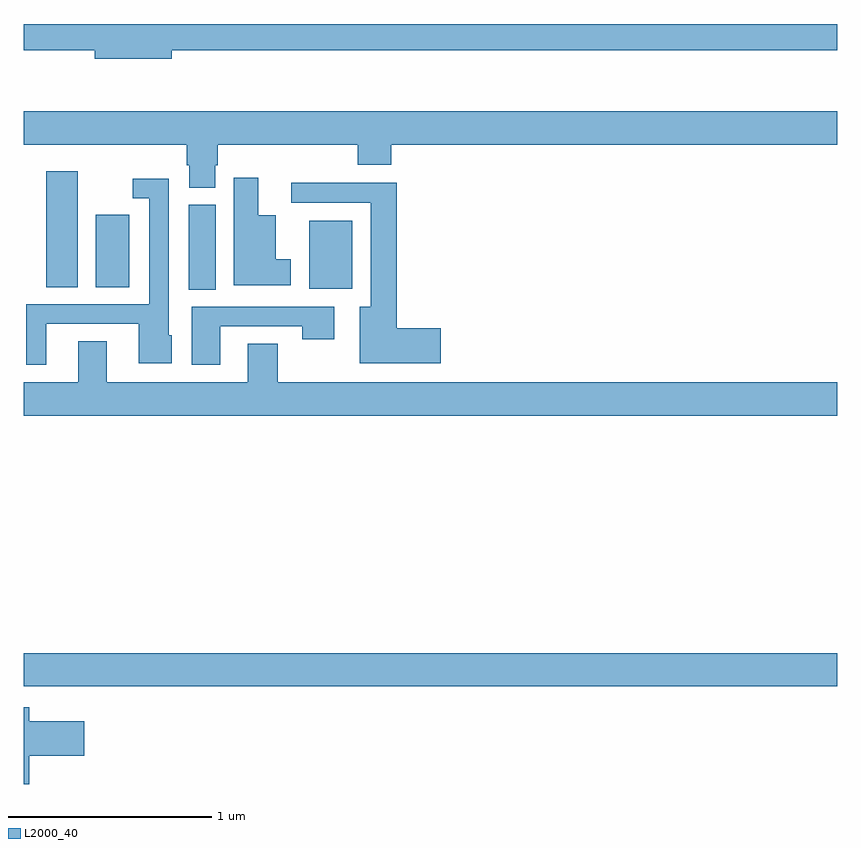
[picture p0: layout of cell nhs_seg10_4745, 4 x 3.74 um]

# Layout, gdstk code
import gdstk
lib = gdstk.Library(unit=1e-6, precision=1e-09)
def R(c, l, rs):  # rectangles x0, y0, x1, y1
    for r in rs: c.add(gdstk.rectangle(r[:2], r[2:], *l))
def P(c, l, *ps):  # polygons
    for p in ps: c.add(gdstk.Polygon(p, *l))
L2000_40 = (2000, 40)

nhs_seg10_4745 = lib.new_cell('nhs_seg10_4745')
R(nhs_seg10_4745, L2000_40, [(383,1302.98,387,1303.144), (383.81,1304.932,383.944,1305.348), (384.404,1304.936,384.616,1305.271), (383.111,1304.944,383.266,1305.514), (383.354,1304.944,383.518,1305.301)])
P(nhs_seg10_4745, L2000_40, [(383.728,1306.11),(387,1306.11),(387,1306.238),(383,1306.238),(383,1306.11),(383.348,1306.11),(383.348,1306.067),(383.728,1306.067)],
  [(383.941,1305.543),(383.954,1305.543),(383.954,1305.644),(384.641,1305.644),(384.641,1305.545),(384.806,1305.545),(384.806,1305.644),(387,1305.644),(387,1305.808),(383,1305.808),(383,1305.644),(383.801,1305.644),(383.801,1305.543),(383.813,1305.543),(383.813,1305.433),(383.941,1305.433)],
  [(384.313,1305.082),(384.238,1305.082),(384.238,1305.298),(384.154,1305.298),(384.154,1305.481),(384.032,1305.481),(384.032,1304.954),(384.313,1304.954)],
  [(383.11,1304.763),(383.564,1304.763),(383.564,1304.57),(383.728,1304.57),(383.728,1304.706),(383.712,1304.706),(383.712,1305.478),(383.535,1305.478),(383.535,1305.381),(383.616,1305.381),(383.616,1304.859),(383.012,1304.859),(383.012,1304.562),(383.11,1304.562)],
  [(385.051,1304.741),(384.833,1304.741),(384.833,1305.458),(384.315,1305.458),(384.315,1305.36),(384.707,1305.36),(384.707,1304.848),(384.653,1304.848),(384.653,1304.57),(385.051,1304.57)],
  [(383.965,1304.751),(384.37,1304.751),(384.37,1304.688),(384.526,1304.688),(384.526,1304.847),(383.825,1304.847),(383.825,1304.562),(383.965,1304.562)],
  [(387,1304.476),(384.249,1304.476),(384.249,1304.666),(384.101,1304.666),(384.101,1304.476),(383.407,1304.476),(383.407,1304.678),(383.267,1304.678),(383.267,1304.476),(383,1304.476),(383,1304.312),(387,1304.312)],
  [(383.027,1302.638),(383.296,1302.638),(383.296,1302.808),(383.027,1302.808),(383.027,1302.877),(383,1302.877),(383,1302.5),(383.027,1302.5)])

lib.write_gds('nhs_seg10_4745.gds')
